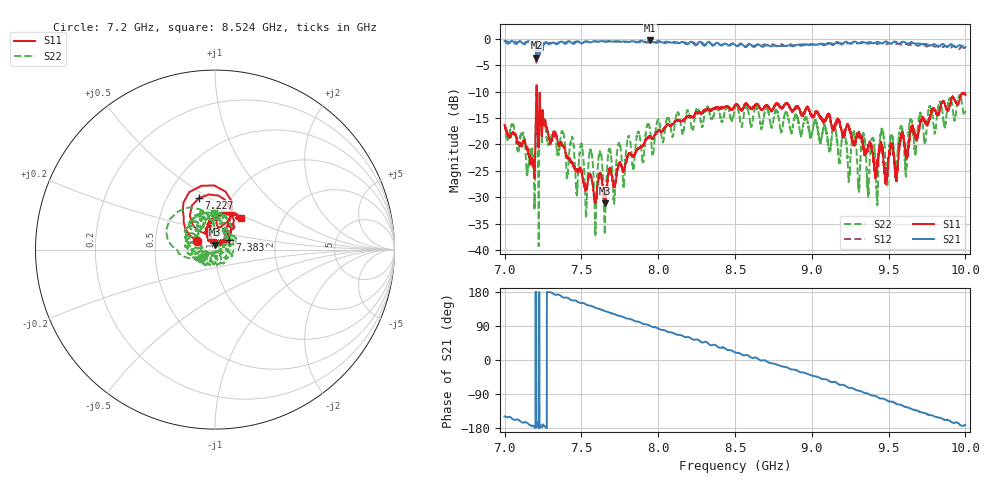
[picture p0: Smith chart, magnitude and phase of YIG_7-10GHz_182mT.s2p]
#  HZ  S  RI  R  50.0
! Rohde & Schwarz ZVL13 2Ports - Version 3.31 - 1303.6509k13 SN: 101088
! Date: 2023-03-06 15:24:12
! Data & Calibration Information:
! Trc4:S11(TOSM) Trc2:S21(TOSM) Trc3:S12(TOSM) Trc5:S22(TOSM)
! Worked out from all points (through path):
!   4000 points, 7 GHz to 10 GHz, reference 50 ohm
!   highest |S21| = -0.34 dB at 7.944 GHz (marker M1); lowest = -3.6 dB at 7.207 GHz (marker M2)
!   group delay of S21, straight-line fit = 357 ps
!   lowest |S11| = -31.1 dB at 7.651 GHz (marker M3), VSWR 1.06, Z = 50 + j2.78 ohm
!   |S11| at or under -10 dB: start of sweep to 7.206 GHz; 7.21 GHz to end of sweep
!   |S22| runs from -39.2 to -10.4 dB; largest |S21 - S12| = 0.11
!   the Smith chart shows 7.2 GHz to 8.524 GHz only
!   S11 on the Smith chart (normalised r, x): 7.2 GHz: 0.81, +0.08; 7.227 GHz: 0.72, +0.45; 7.383 GHz: 1.17, +0.13; 8.524 GHz: 1.25, +0.46
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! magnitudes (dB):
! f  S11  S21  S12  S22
! 7 GHz  -16.3  -0.4  -0.5  -16.2
! 7.182 GHz  -23.4  -1.1  -0.8  -22.1
! 7.2 GHz  -19.0  -1.2  -1.3  -20.7
! 7.207 GHz  -9.1  -3.6  -4.5  -10.7
! 7.227 GHz  -10.4  -2.8  -3.0  -14.5
! 7.383 GHz  -20.3  -0.8  -0.7  -18.0
! 7.469 GHz  -24.7  -0.6  -0.5  -29.0
! 7.5 GHz  -24.8  -0.9  -0.7  -19.9
! 7.563 GHz  -26.0  -0.7  -0.6  -21.4
! 7.59 GHz  -31.1  -0.5  -0.5  -37.4
! 7.623 GHz  -25.4  -0.5  -0.6  -21.5
! 7.651 GHz  -31.1  -0.5  -0.5  -36.3
! 7.682 GHz  -24.6  -0.4  -0.6  -20.9
! 7.713 GHz  -27.9  -0.5  -0.6  -31.2
! 7.743 GHz  -24.0  -0.5  -0.6  -19.8
! 7.944 GHz  -18.5  -0.3  -0.7  -16.8
! 8 GHz  -17.3  -0.4  -0.7  -15.3
! 8.5 GHz  -12.6  -1.2  -1.3  -13.1
! 8.524 GHz  -12.9  -1.3  -1.1  -13.9
! 9 GHz  -14.5  -1.1  -1.0  -18.0
! 9.5 GHz  -22.6  -0.8  -0.9  -22.6
! 10 GHz  -10.6  -1.6  -1.8  -13.6
